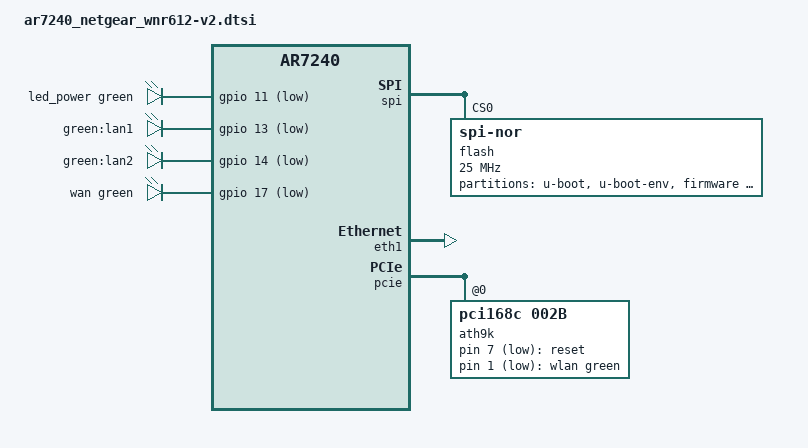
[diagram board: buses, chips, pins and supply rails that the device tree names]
// SPDX-License-Identifier: GPL-2.0-or-later OR MIT

#include "ar7240.dtsi"

#include <dt-bindings/gpio/gpio.h>
#include <dt-bindings/input/input.h>
#include <dt-bindings/leds/common.h>
#include <dt-bindings/mtd/partitions/uimage.h>

/ {
	aliases {
		led-boot = &led_power;
		led-failsafe = &led_power;
		led-running = &led_power;
		led-upgrade = &led_power;
		label-mac-device = &eth1;
	};

	ath9k-keys {
		compatible = "gpio-keys-polled";
		poll-interval = <20>;

		reset {
			label = "reset";
			linux,code = <KEY_RESTART>;
			gpios = <&ath9k 7 GPIO_ACTIVE_LOW>;
			debounce-interval = <60>;
		};
	};

	leds {
		compatible = "gpio-leds";

		pinctrl-names = "default";
		pinctrl-0 = <&jtag_disable_pins &switch_led_disable_pins &clks_disable_pins>;

		led_power: power {
			function = LED_FUNCTION_POWER;
			color = <LED_COLOR_ID_GREEN>;
			gpios = <&gpio 11 GPIO_ACTIVE_LOW>;
		};

		lan1 {
			label = "green:lan1";
			gpios = <&gpio 13 GPIO_ACTIVE_LOW>;
		};

		lan2 {
			label = "green:lan2";
			gpios = <&gpio 14 GPIO_ACTIVE_LOW>;
		};

		wan {
			function = LED_FUNCTION_WAN;
			color = <LED_COLOR_ID_GREEN>;
			gpios = <&gpio 17 GPIO_ACTIVE_LOW>;
		};
	};

	ath9k-leds {
		compatible = "gpio-leds";

		wlan {
			function = LED_FUNCTION_WLAN;
			color = <LED_COLOR_ID_GREEN>;
			gpios = <&ath9k 1 GPIO_ACTIVE_LOW>;
			linux,default-trigger = "phy0tpt";
		};
	};
};

&spi {
	status = "okay";

	flash@0 {
		compatible = "jedec,spi-nor";
		reg = <0>;
		spi-max-frequency = <25000000>;

		partitions {
			compatible = "fixed-partitions";
			#address-cells = <1>;
			#size-cells = <1>;

			partition@0 {
				reg = <0x0 0x40000>;
				label = "u-boot";
				read-only;
			};

			partition@40000 {
				reg = <0x40000 0x10000>;
				label = "u-boot-env";
			};

			partition@50000 {
				compatible = "openwrt,uimage", "denx,uimage";
				openwrt,ih-magic = <0x32303631>;
				openwrt,ih-type = <IH_TYPE_FILESYSTEM>;
				reg = <0x50000 0x3a0000>;
				label = "firmware";
			};

			art: partition@3f0000 {
				reg = <0x3f0000 0x10000>;
				label = "art";
				read-only;

				nvmem-layout {
					compatible = "fixed-layout";
					#address-cells = <1>;
					#size-cells = <1>;

					macaddr_art_0: macaddr@0 {
						compatible = "mac-base";
						reg = <0x0 0x6>;
						#nvmem-cell-cells = <1>;
					};

					macaddr_art_6: macaddr@6 {
						reg = <0x6 0x6>;
					};
				};
			};
		};
	};
};

&eth0 {
	nvmem-cells = <&macaddr_art_0 0>;
	nvmem-cell-names = "mac-address";
};

&eth1 {
	status = "okay";

	nvmem-cells = <&macaddr_art_6>;
	nvmem-cell-names = "mac-address";
};

&pcie {
	status = "okay";

	ath9k: wifi@0,0 {
		compatible = "pci168c,002b";
		reg = <0x0000 0 0 0 0>;
		nvmem-cells = <&macaddr_art_0 1>;
		nvmem-cell-names = "mac-address";
		qca,no-eeprom;
		#gpio-cells = <2>;
		gpio-controller;
	};
};
